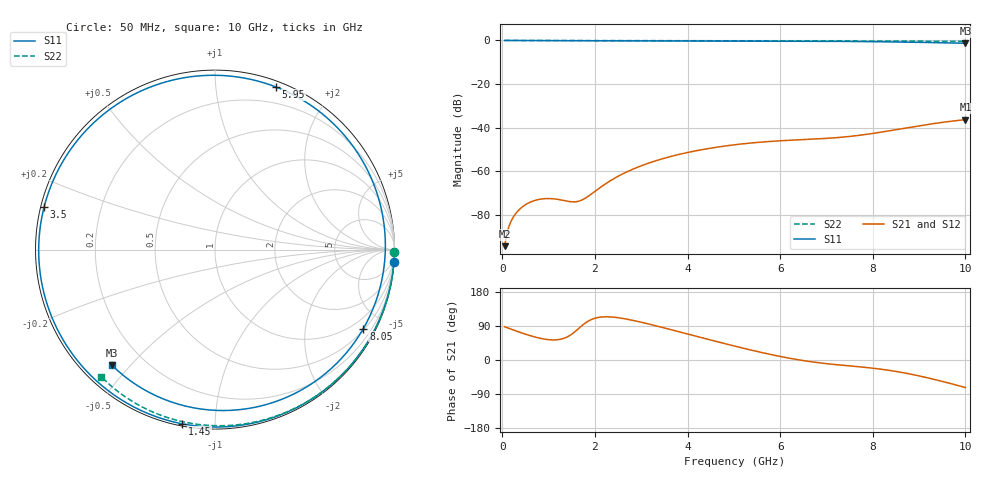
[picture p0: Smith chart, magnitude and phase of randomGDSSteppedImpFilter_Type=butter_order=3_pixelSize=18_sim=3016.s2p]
! freq	dB(S11)	phase(S11)	dB(S12)	phase(S12)
!  dB(S21)	phase(S21)	dB(S22)	phase(S22)
!S-par simulation data
#  GHz  S  DB  R 50
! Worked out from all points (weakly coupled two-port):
!   200 points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, 50 MHz to 10 GHz, reference 50 ohm
!   highest |S21| = -36.27 dB at 10 GHz (marker M1); lowest = -94.2 dB at 50 MHz (marker M2)
!   lowest |S11| = -1.3 dB at 10 GHz (marker M3), VSWR 13.60, Z = 4.41 - j22.3 ohm
!   |S11| at or under -10 dB: nowhere
!   |S22| runs from -0.4 to 0.0 dB; largest |S21 - S12| = 0
!   S11 on the Smith chart (normalised r, x): 50 MHz: 0, -29; 1.45 GHz: 0.01, -0.83; 3.5 GHz: 0.01, +0.12; 5.95 GHz: 0.05, +1.44; 8.05 GHz: 0.55, -3.93; 10 GHz: 0.09, -0.45
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0.05  -0.00 -3.9  -94.22 87.7  -94.22 87.7  -0.00 -0.8
0.25  -0.03 -19.3  -80.48 78.7  -80.48 78.7  -0.01 -3.8
0.5  -0.05 -38.1  -75.23 68.2  -75.23 68.2  -0.01 -7.6
0.75  -0.07 -56.0  -73.01 59.3  -73.01 59.3  -0.01 -11.3
1.1  -0.09 -79.4  -72.51 52.9  -72.51 52.9  -0.02 -16.6
1.45  -0.11 -100.6  -73.78 64.1  -73.78 64.1  -0.03 -21.8
1.75  -0.12 -117.1  -72.76 93.7  -72.76 93.7  -0.03 -26.2
2.55  -0.14 -155.3  -61.65 110.7  -61.65 110.7  -0.05 -37.9
3.4  -0.16 169.9  -54.55 87.7  -54.55 87.7  -0.07 -50.0
3.5  -0.16 166.0  -53.93 84.6  -53.93 84.6  -0.07 -51.4
4.25  -0.19 137.2  -50.25 60.7  -50.25 60.7  -0.09 -61.7
5.05  -0.23 106.3  -47.69 35.7  -47.69 35.7  -0.11 -72.3
5.5  -0.26 88.2  -46.71 22.5  -46.71 22.5  -0.13 -78.2
5.95  -0.29 69.4  -46.01 10.6  -46.01 10.6  -0.14 -83.9
6.7  -0.35 36.4  -45.20 -5.1  -45.20 -5.1  -0.18 -93.2
7.4  -0.44 3.7  -44.18 -14.5  -44.18 -14.5  -0.22 -101.7
8.05  -0.57 -28.0  -42.42 -22.3  -42.42 -22.3  -0.26 -109.4
8.35  -0.65 -43.1  -41.39 -27.3  -41.39 -27.3  -0.29 -112.9
8.8  -0.79 -66.1  -39.79 -36.9  -39.79 -36.9  -0.32 -118.1
9.2  -0.94 -87.1  -38.43 -47.4  -38.43 -47.4  -0.36 -122.7
9.6  -1.10 -108.9  -37.25 -59.5  -37.25 -59.5  -0.40 -127.3
10  -1.28 -131.6  -36.27 -72.7  -36.27 -72.7  -0.44 -131.8
